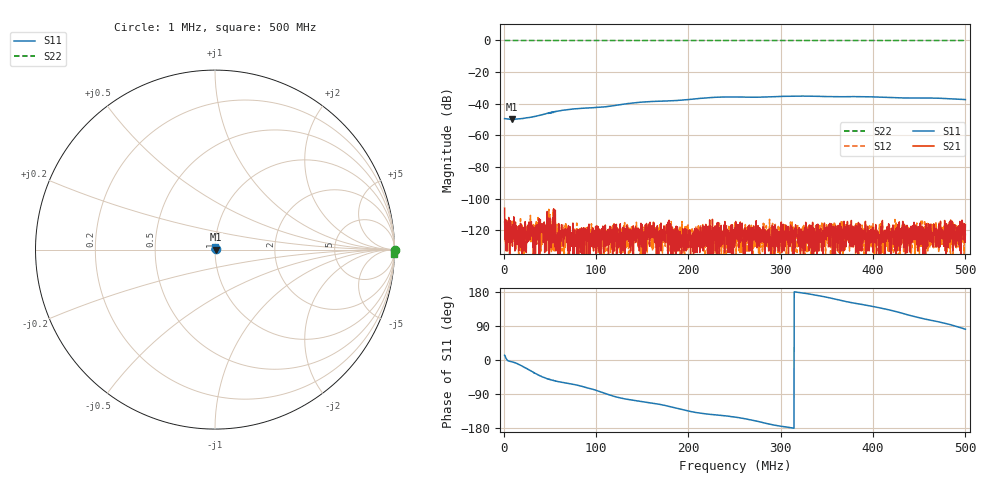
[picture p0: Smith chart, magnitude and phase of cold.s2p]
! MS46122B
! 1746301/73750021
! 11/3/2023 2:20:26 PM
! C:\USERS\SPEGWAL\DOWNLOADS\SAURABH\REACH\NODES\FRONT END\MEASUREMENTS\MEASURED S-PARAMETERS_03-11-2023\MS3-MS4_MS1_CABLE\COLD50_SOURCE_S11.S2P
! CHANNEL.1
! TR.MEASUREMENT
! CORRECTED.DATA
# GHZ S RI R 50.0
! FREQ.GHZ  S11RE  S11IM  S21RE  S21IM  S12RE  S12IM  S22RE  S22IM
!; PortSelection: Port_12
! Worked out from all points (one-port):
!   2001 points, 1 MHz to 500 MHz, reference 50 ohm
!   lowest |S11| = -49.9 dB at 9.233 MHz (marker M1), VSWR 1.01, Z = 50.3 - j0.0263 ohm
!   |S11| at or under -10 dB: start of sweep to end of sweep
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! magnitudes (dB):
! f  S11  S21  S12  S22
! 1 MHz  -49.4  -105.9  -114.2  0.0
! 9.233 MHz  -49.9  -123.5  -114.5  0.0
! 19.71 MHz  -49.3  -137.0  -116.6  0.0
! 30.69 MHz  -48.3  -122.8  -118.0  0.0
! 54.64 MHz  -45.1  -115.5  -133.0  0.0
! 63.87 MHz  -44.1  -124.0  -116.2  0.0
! 84.33 MHz  -42.9  -118.4  -120.0  0.0
! 109 MHz  -42.0  -130.0  -117.7  0.0
! 145.2 MHz  -39.1  -119.0  -128.9  0.0
! 167.4 MHz  -38.4  -124.3  -123.5  0.0
! 189.4 MHz  -37.8  -120.5  -125.4  0.0
! 226 MHz  -36.0  -113.0  -128.9  0.0
! 250.5 MHz  -35.7  -118.4  -121.9  0.0
! 277.7 MHz  -35.8  -123.1  -120.0  0.0
! 306.6 MHz  -35.2  -125.9  -128.9  0.0
! 333.8 MHz  -35.2  -117.3  -118.4  0.0
! 358.5 MHz  -35.5  -123.9  -125.4  0.0
! 389 MHz  -35.5  -124.3  -121.9  0.0
! 416.9 MHz  -36.0  -115.8  -123.5  0.0
! 432.9 MHz  -36.3  -117.3  -121.9  0.0
! 468.3 MHz  -36.4  -127.4  -127.7  0.0
! 500 MHz  -37.3  -116.3  -121.9  0.0
